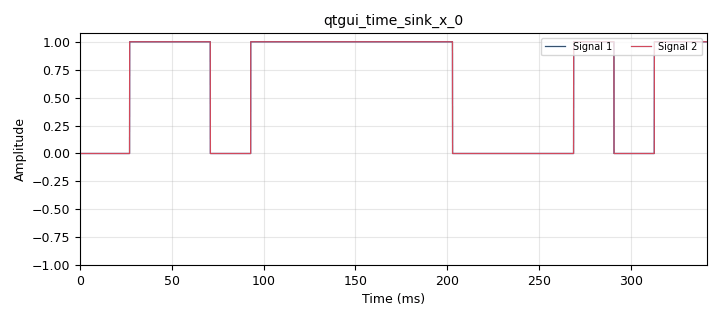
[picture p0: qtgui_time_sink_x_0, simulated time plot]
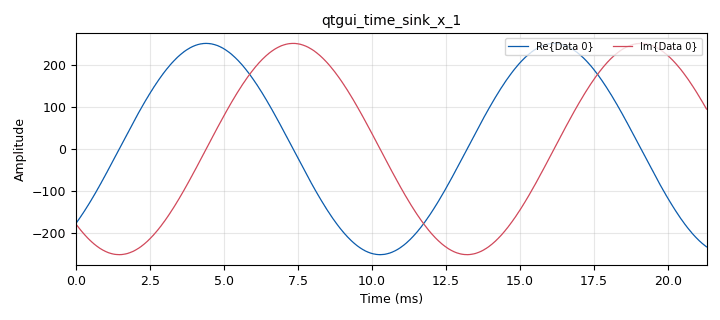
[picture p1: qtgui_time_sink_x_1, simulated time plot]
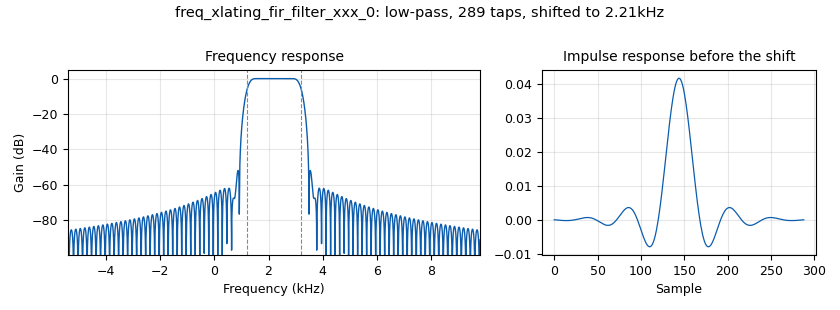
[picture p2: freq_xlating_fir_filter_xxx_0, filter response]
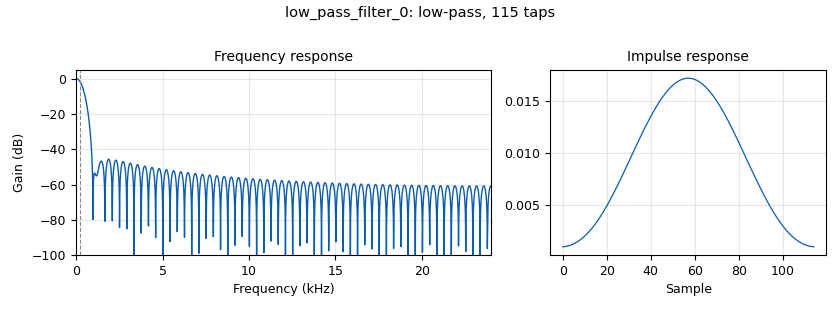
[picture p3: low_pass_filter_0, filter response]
options:
  parameters:
    author: Madeline Tippett
    generate_options: qt_gui
    id: gauss_fsk
    output_language: python
    title: FSK with Gauss
  states: {}

blocks:
- name: amp
  id: variable_qtgui_range
  parameters:
    label: amp
    start: '0'
    step: '0.000001'
    stop: '0.001'
    value: '0.00001'
  states: {}
- name: baud
  id: variable
  parameters:
    value: '45.4545'
  states: {}
- name: centre
  id: variable
  parameters:
    value: '2210'
  states: {}
- name: delay
  id: variable_qtgui_range
  parameters:
    label: Delay
    start: '0'
    step: '1'
    stop: '250'
    value: '200'
  states: {}
- name: fsk_deviation
  id: variable
  parameters:
    value: '170'
  states: {}
- name: inp_amp
  id: variable
  parameters:
    value: '0.068'
  states: {}
- name: repeat
  id: variable
  parameters:
    value: '1056'
  states: {}
- name: samp_rate
  id: variable
  parameters:
    value: '48000'
  states: {}
- name: sq_lvl
  id: variable_qtgui_range
  parameters:
    label: Squelch
    start: '-100'
    step: '5'
    stop: '0'
    value: '-70'
  states: {}
- name: vco_max
  id: variable
  parameters:
    value: '2500'
  states: {}
- name: vco_offset
  id: variable
  parameters:
    value: '0.850'
  states: {}
- name: analog_noise_source_x_0
  id: analog_noise_source_x
  parameters:
    amp: amp
    noise_type: analog.GR_GAUSSIAN
    seed: '0'
    type: complex
  states: {}
- name: analog_quadrature_demod_cf_0
  id: analog_quadrature_demod_cf
  parameters:
    gain: '128177'
  states: {}
- name: analog_random_source_x_0
  id: analog_random_source_x
  parameters:
    max: '256'
    min: '0'
    num_samps: '1024'
    repeat: 'True'
    type: byte
  states: {}
- name: analog_simple_squelch_cc_0
  id: analog_simple_squelch_cc
  parameters:
    alpha: '1'
    threshold: '-70'
  states: {}
- name: blocks_add_const_vxx_0
  id: blocks_add_const_vxx
  parameters:
    const: vco_offset
    type: float
  states: {}
- name: blocks_add_xx_0
  id: blocks_add_xx
  parameters:
    type: complex
  states: {}
- name: blocks_delay_0
  id: blocks_delay
  parameters:
    delay: '202'
    type: float
  states: {}
- name: blocks_multiply_const_vxx_0
  id: blocks_multiply_const_vxx
  parameters:
    const: inp_amp
    type: float
  states: {}
- name: blocks_repeat_0
  id: blocks_repeat
  parameters:
    interp: '1056'
    type: byte
  states: {}
- name: blocks_sub_xx_0
  id: blocks_sub_xx
  parameters:
    type: float
  states: {}
- name: blocks_throttle_0
  id: blocks_throttle
  parameters:
    samples_per_second: samp_rate
    type: byte
  states: {}
- name: blocks_throttle_0_0
  id: blocks_throttle
  parameters:
    samples_per_second: samp_rate
    type: complex
  states: {}
- name: blocks_uchar_to_float_0
  id: blocks_uchar_to_float
  parameters: {}
  states: {}
- name: blocks_uchar_to_float_1
  id: blocks_uchar_to_float
  parameters: {}
  states: {}
- name: blocks_unpack_k_bits_bb_0
  id: blocks_unpack_k_bits_bb
  parameters:
    k: '8'
  states: {}
- name: blocks_vco_f_0
  id: blocks_vco_f
  parameters:
    amplitude: '500'
    samp_rate: samp_rate
    sensitivity: (2*math.pi* vco_max)/1
  states: {}
- name: digital_binary_slicer_fb_0
  id: digital_binary_slicer_fb
  parameters: {}
  states: {}
- name: freq_xlating_fir_filter_xxx_0
  id: freq_xlating_fir_filter_xxx
  parameters:
    center_freq: centre
    decim: '1'
    samp_rate: samp_rate
    taps: firdes.low_pass(1.0, samp_rate, 1000, 400)
    type: fcf
  states: {}
- name: low_pass_filter_0
  id: low_pass_filter
  parameters:
    cutoff_freq: '200'
    decim: '1'
    gain: '1'
    samp_rate: samp_rate
    type: fir_filter_fff
    width: '1000'
    win: window.WIN_HAMMING
  states: {}
- name: note_0
  id: note
  parameters:
    note: 'Need multipath '
  states: {}
- name: qtgui_time_sink_x_0
  id: qtgui_time_sink_x
  parameters:
    ctrlpanel: 'True'
    nconnections: '2'
    size: '16384'
    srate: samp_rate
    type: float
    update_time: '0'
  states: {}
- name: qtgui_time_sink_x_0_0
  id: qtgui_time_sink_x
  parameters:
    ctrlpanel: 'True'
    size: '16384'
    srate: samp_rate
    type: float
    update_time: '0'
  states: {}
- name: qtgui_time_sink_x_1
  id: qtgui_time_sink_x
  parameters:
    autoscale: 'True'
    size: '1024'
    srate: samp_rate
    type: complex
  states: {}
- name: virtual_sink_0
  id: virtual_sink
  parameters:
    stream_id: xmt_data
  states: {}
- name: virtual_sink_1
  id: virtual_sink
  parameters:
    stream_id: fsk_out
  states: {}
- name: virtual_sink_2
  id: virtual_sink
  parameters:
    stream_id: fsk_channel_out
  states: {}
- name: virtual_source_0
  id: virtual_source
  parameters:
    stream_id: xmt_data
  states: {}
- name: virtual_source_1
  id: virtual_source
  parameters:
    stream_id: fsk_out
  states: {}
- name: virtual_source_2
  id: virtual_source
  parameters:
    stream_id: xmt_data
  states: {}
- name: virtual_source_3
  id: virtual_source
  parameters:
    stream_id: fsk_channel_out
  states: {}

connections:
- [analog_noise_source_x_0, '0', blocks_throttle_0_0, '0']
- [analog_quadrature_demod_cf_0, '0', digital_binary_slicer_fb_0, '0']
- [analog_random_source_x_0, '0', blocks_unpack_k_bits_bb_0, '0']
- [analog_simple_squelch_cc_0, '0', analog_quadrature_demod_cf_0, '0']
- [blocks_add_const_vxx_0, '0', blocks_vco_f_0, '0']
- [blocks_add_xx_0, '0', qtgui_time_sink_x_1, '0']
- [blocks_add_xx_0, '0', virtual_sink_2, '0']
- [blocks_delay_0, '0', blocks_sub_xx_0, '1']
- [blocks_delay_0, '0', qtgui_time_sink_x_0, '1']
- [blocks_multiply_const_vxx_0, '0', blocks_add_const_vxx_0, '0']
- [blocks_repeat_0, '0', blocks_throttle_0, '0']
- [blocks_sub_xx_0, '0', qtgui_time_sink_x_0_0, '0']
- [blocks_throttle_0, '0', blocks_uchar_to_float_0, '0']
- [blocks_throttle_0_0, '0', blocks_add_xx_0, '1']
- [blocks_uchar_to_float_0, '0', virtual_sink_0, '0']
- [blocks_uchar_to_float_1, '0', blocks_sub_xx_0, '0']
- [blocks_uchar_to_float_1, '0', qtgui_time_sink_x_0, '0']
- [blocks_unpack_k_bits_bb_0, '0', blocks_repeat_0, '0']
- [blocks_vco_f_0, '0', virtual_sink_1, '0']
- [digital_binary_slicer_fb_0, '0', blocks_uchar_to_float_1, '0']
- [freq_xlating_fir_filter_xxx_0, '0', blocks_add_xx_0, '0']
- [low_pass_filter_0, '0', blocks_multiply_const_vxx_0, '0']
- [virtual_source_0, '0', low_pass_filter_0, '0']
- [virtual_source_1, '0', freq_xlating_fir_filter_xxx_0, '0']
- [virtual_source_2, '0', blocks_delay_0, '0']
- [virtual_source_3, '0', analog_simple_squelch_cc_0, '0']

metadata:
  file_format: 1
